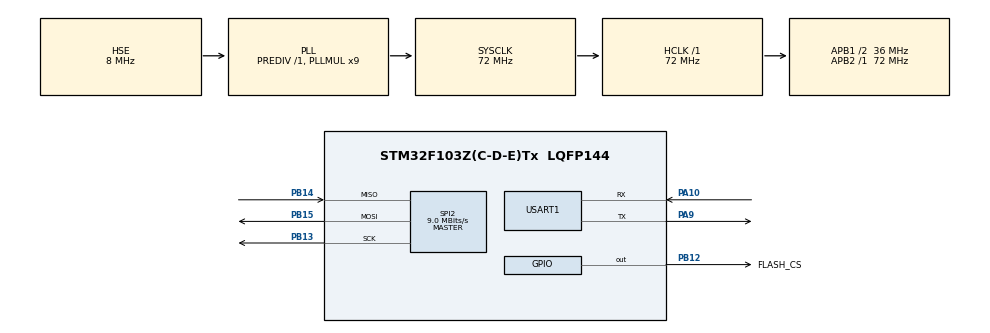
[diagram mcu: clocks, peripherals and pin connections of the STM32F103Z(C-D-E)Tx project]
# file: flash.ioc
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Mcu.Family=STM32F1
Mcu.Name=STM32F103Z(C-D-E)Tx
Mcu.Package=LQFP144
NVIC.PriorityGroup=NVIC_PRIORITYGROUP_4
OSC_IN.Mode=HSE-External-Oscillator
OSC_IN.Signal=RCC_OSC_IN
OSC_OUT.Mode=HSE-External-Oscillator
OSC_OUT.Signal=RCC_OSC_OUT
PA10.Mode=Asynchronous
PA10.Signal=USART1_RX
PA13.Mode=Serial_Wire
PA13.Signal=SYS_JTMS-SWDIO
PA14.Mode=Serial_Wire
PA14.Signal=SYS_JTCK-SWCLK
PA9.Mode=Asynchronous
PA9.Signal=USART1_TX
PB12.GPIO_Label=FLASH_CS
PB12.GPIO_Speed=GPIO_SPEED_FREQ_HIGH
PB12.PinState=GPIO_PIN_SET
PB12.Signal=GPIO_Output
PB13.Mode=Full_Duplex_Master
PB13.Signal=SPI2_SCK
PB14.Mode=Full_Duplex_Master
PB14.Signal=SPI2_MISO
PB15.Mode=Full_Duplex_Master
PB15.Signal=SPI2_MOSI
PC14-OSC32_IN.Mode=LSE-External-Oscillator
PC14-OSC32_IN.Signal=RCC_OSC32_IN
PC15-OSC32_OUT.Mode=LSE-External-Oscillator
PC15-OSC32_OUT.Signal=RCC_OSC32_OUT
ProjectManager.HeapSize=0x200
ProjectManager.StackSize=0x400
ProjectManager.TargetToolchain=MDK-ARM V5.32
RCC.AHBFreq_Value=72000000
RCC.APB1CLKDivider=RCC_HCLK_DIV2
RCC.APB1Freq_Value=36000000
RCC.APB1TimFreq_Value=72000000
RCC.APB2Freq_Value=72000000
RCC.APB2TimFreq_Value=72000000
RCC.HCLKFreq_Value=72000000
RCC.PLLMUL=RCC_PLL_MUL9
RCC.PLLSourceVirtual=RCC_PLLSOURCE_HSE
RCC.SYSCLKFreq_VALUE=72000000
RCC.SYSCLKSource=RCC_SYSCLKSOURCE_PLLCLK
RCC.USBFreq_Value=72000000
SPI2.BaudRatePrescaler=SPI_BAUDRATEPRESCALER_4
SPI2.CalculateBaudRate=9.0 MBits/s
SPI2.Direction=SPI_DIRECTION_2LINES
SPI2.Mode=SPI_MODE_MASTER
SPI2.VirtualType=VM_MASTER
USART1.VirtualMode=VM_ASYNC
board=custom

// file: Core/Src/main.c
/* USER CODE BEGIN Header */
/**
  ******************************************************************************
  * @file           : main.c
  * @brief          : Main program body
  ******************************************************************************
  * @attention
  *
  * Copyright (c) 2026 STMicroelectronics.
  * All rights reserved.
  *
  * This software is licensed under terms that can be found in the LICENSE file
  * in the root directory of this software component.
  * If no LICENSE file comes with this software, it is provided AS-IS.
  *
  ******************************************************************************
  */
/* USER CODE END Header */
#include "main.h"
#include "spi.h"
#include "usart.h"
#include "gpio.h"

/* USER CODE BEGIN Includes */
#include "flash.h"
#include <stdio.h>
#include "log.h"
/* USER CODE END Includes */

void SystemClock_Config(void);

/* USER CODE BEGIN 0 */

void flash_test(void)
{
    /* ==================================================================
     第三步验收：黑匣子。
     为什么测试这么设计：每次上电自动写一条"开机记录"，
     然后把全部历史打印出来。按复位键 = 一次真实的断电重启
     （RAM 全清、程序从头跑），所以：
     count 一次比一次大、历史一条不少 —— 就是断电续写成立的铁证。 */
  {
    uint8_t data[12];
    uint8_t rec[LOG_REC_SIZE];
    uint8_t i;
    uint16_t n;

    Log_Init();
    n = Log_Count();
    printf("\r\n--- blackbox ---\r\n");
    printf("count on boot = %u\r\n", (unsigned)n);

    /* 为什么往 data 里塞 HAL_GetTick()：
       每次上电 tick 值都不同，能证明"这次写进去的是新数据"，
       而不是读到了上次的残留。 */
    data[0] = 0xBB;                            /* 开机标记 */
    data[1] = (uint8_t)(HAL_GetTick() >> 8);
    data[2] = (uint8_t)HAL_GetTick();
    Log_Append(data, 3);
    printf("appended one, count = %u\r\n", (unsigned)Log_Count());

    /* 全量回放：从第 0 条读到最新一条，逐条验校验和。
       第一次上电会格式化（只有 count=0 这条），
       第二次上电开始就能看到"上一条还在"。 */
    for (i = 0; i < Log_Count(); i++)
    {
      uint8_t sum = 0, j;

      Log_Read(i, rec);
      for (j = 0; j < 15; j++) sum += rec[j];

      printf("rec[%u] seq=%u len=%u sum=%s data=%02X %02X%02X\r\n",
             (unsigned)i,
             (unsigned)((rec[0] << 8) | rec[1]),
             (unsigned)rec[2],
             (sum == rec[15]) ? "OK" : "BAD",
             (unsigned)rec[3],
             (unsigned)rec[4], (unsigned)rec[5]);
    }
  }

}

/* USER CODE END 0 */

int main(void)
{

  /* MCU Configuration--------------------------------------------------------*/

  /* Reset of all peripherals, Initializes the Flash interface and the Systick. */
  HAL_Init();

  /* Configure the system clock */
  SystemClock_Config();

  /* Initialize all configured peripherals */
  MX_GPIO_Init();
  MX_SPI2_Init();
  MX_USART1_UART_Init();
  /* USER CODE BEGIN 2 */
  Flash_Init();
  uint32_t id=Flash_ReadId();
  printf("FLASH JEDEC = 0x%06X\r\n", (unsigned)id);

  flash_test();
  /* USER CODE END 2 */

  /* Infinite loop */
  while (1)
  {

  }
}

void SystemClock_Config(void)
{
  RCC_OscInitTypeDef RCC_OscInitStruct = {0};
  RCC_ClkInitTypeDef RCC_ClkInitStruct = {0};

  /** Initializes the RCC Oscillators according to the specified parameters
  * in the RCC_OscInitTypeDef structure.
  */
  RCC_OscInitStruct.OscillatorType = RCC_OSCILLATORTYPE_HSE;
  RCC_OscInitStruct.HSEState = RCC_HSE_ON;
  RCC_OscInitStruct.HSEPredivValue = RCC_HSE_PREDIV_DIV1;
  RCC_OscInitStruct.HSIState = RCC_HSI_ON;
  RCC_OscInitStruct.PLL.PLLState = RCC_PLL_ON;
  RCC_OscInitStruct.PLL.PLLSource = RCC_PLLSOURCE_HSE;
  RCC_OscInitStruct.PLL.PLLMUL = RCC_PLL_MUL9;
  if (HAL_RCC_OscConfig(&RCC_OscInitStruct) != HAL_OK)
  {
    Error_Handler();
  }

  /** Initializes the CPU, AHB and APB buses clocks
  */
  RCC_ClkInitStruct.ClockType = RCC_CLOCKTYPE_HCLK|RCC_CLOCKTYPE_SYSCLK
                              |RCC_CLOCKTYPE_PCLK1|RCC_CLOCKTYPE_PCLK2;
  RCC_ClkInitStruct.SYSCLKSource = RCC_SYSCLKSOURCE_PLLCLK;
  RCC_ClkInitStruct.AHBCLKDivider = RCC_SYSCLK_DIV1;
  RCC_ClkInitStruct.APB1CLKDivider = RCC_HCLK_DIV2;
  RCC_ClkInitStruct.APB2CLKDivider = RCC_HCLK_DIV1;

  if (HAL_RCC_ClockConfig(&RCC_ClkInitStruct, FLASH_LATENCY_2) != HAL_OK)
  {
    Error_Handler();
  }
}

void Error_Handler(void)
{
  __disable_irq();
  while (1)
  {
  }
}
